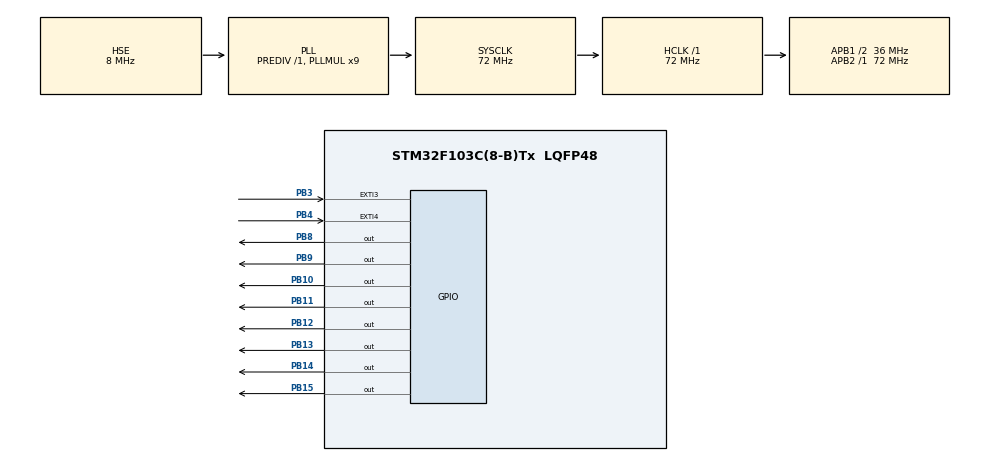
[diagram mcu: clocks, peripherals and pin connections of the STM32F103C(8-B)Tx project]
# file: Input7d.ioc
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Mcu.Family=STM32F1
Mcu.Name=STM32F103C(8-B)Tx
Mcu.Package=LQFP48
NVIC.EXTI3_IRQn=true\:1\:0\:true\:false\:true\:true\:true\:true
NVIC.EXTI4_IRQn=true\:2\:0\:true\:false\:true\:true\:true\:true
NVIC.PriorityGroup=NVIC_PRIORITYGROUP_4
PA13.Mode=Serial_Wire
PA13.Signal=SYS_JTMS-SWDIO
PA14.Mode=Serial_Wire
PA14.Signal=SYS_JTCK-SWCLK
PB10.Signal=GPIO_Output
PB11.Signal=GPIO_Output
PB12.Signal=GPIO_Output
PB13.Signal=GPIO_Output
PB14.Signal=GPIO_Output
PB15.Signal=GPIO_Output
PB3.GPIO_ModeDefaultEXTI=GPIO_MODE_IT_FALLING
PB3.GPIO_PuPd=GPIO_PULLUP
PB3.Signal=GPXTI3
PB4.GPIO_ModeDefaultEXTI=GPIO_MODE_IT_FALLING
PB4.GPIO_PuPd=GPIO_PULLUP
PB4.Signal=GPXTI4
PB8.Signal=GPIO_Output
PB9.Signal=GPIO_Output
PD0-OSC_IN.Mode=HSE-External-Oscillator
PD0-OSC_IN.Signal=RCC_OSC_IN
PD1-OSC_OUT.Mode=HSE-External-Oscillator
PD1-OSC_OUT.Signal=RCC_OSC_OUT
ProjectManager.HeapSize=0x200
ProjectManager.StackSize=0x400
ProjectManager.TargetToolchain=MDK-ARM V5.32
RCC.AHBFreq_Value=72000000
RCC.APB1CLKDivider=RCC_HCLK_DIV2
RCC.APB1Freq_Value=36000000
RCC.APB1TimFreq_Value=72000000
RCC.APB2Freq_Value=72000000
RCC.APB2TimFreq_Value=72000000
RCC.HCLKFreq_Value=72000000
RCC.PLLMUL=RCC_PLL_MUL9
RCC.PLLSourceVirtual=RCC_PLLSOURCE_HSE
RCC.SYSCLKFreq_VALUE=72000000
RCC.SYSCLKSource=RCC_SYSCLKSOURCE_PLLCLK
RCC.USBFreq_Value=72000000
board=custom

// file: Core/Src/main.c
/* USER CODE BEGIN Header */
/**
  ******************************************************************************
  * @file           : main.c
  * @brief          : Main program body
  ******************************************************************************
  * @attention
  *
  * Copyright (c) 2022 STMicroelectronics.
  * All rights reserved.
  *
  * This software is licensed under terms that can be found in the LICENSE file
  * in the root directory of this software component.
  * If no LICENSE file comes with this software, it is provided AS-IS.
  *
  ******************************************************************************
  */
/* USER CODE END Header */
#include "main.h"

/* USER CODE BEGIN PTD */
uint8_t bin[8];
int dem;
uint8_t a;
uint8_t b;
int dem_bt1 = 0 ;
int dem_bt2 = 0;
/* USER CODE END PTD */

/* USER CODE BEGIN PV */
//void HAL_GPIO_EXTI_Callback(uint16_t GPIO_Pin)

/* USER CODE END PV */

void SystemClock_Config(void);
static void MX_GPIO_Init(void);

/* USER CODE BEGIN 0 */
void chuyen_he(int dec)
{
	for(int i = 0; i < 8; i++)
	{
		bin[i] = dec%2;
		dec/=2;
	}
}

void increase_1(void)
{
	dem_bt1 = 0;
	dem_bt2 = 0;
	for(int i = 0; i < 255; i++)
	{
		if(dem_bt2 >= 1)
		{
			break;
		}
		chuyen_he(i);
		HAL_GPIO_WritePin(GPIOB, GPIO_PIN_8, bin[0]);
		HAL_GPIO_WritePin(GPIOB, GPIO_PIN_9, bin[1]);
		HAL_GPIO_WritePin(GPIOB, GPIO_PIN_10, bin[2]);
		HAL_GPIO_WritePin(GPIOB, GPIO_PIN_11, bin[3]);
		HAL_GPIO_WritePin(GPIOB, GPIO_PIN_12, bin[4]);
		HAL_GPIO_WritePin(GPIOB, GPIO_PIN_13, bin[5]);
		HAL_GPIO_WritePin(GPIOB, GPIO_PIN_14, bin[6]);
		HAL_GPIO_WritePin(GPIOB, GPIO_PIN_15, bin[7]);
		HAL_Delay(1000);
		dem = i;
	}
}

void reduce_1(void)
{
	dem_bt1 = 0;
	dem_bt2 = 0;
	for(int i = 255; i >=0; i--)
	{
		if(dem_bt1 >= 1)
		{
			break;
		}
		chuyen_he(i);
		HAL_GPIO_WritePin(GPIOB, GPIO_PIN_8, bin[0]);
		HAL_GPIO_WritePin(GPIOB, GPIO_PIN_9, bin[1]);
		HAL_GPIO_WritePin(GPIOB, GPIO_PIN_10, bin[2]);
		HAL_GPIO_WritePin(GPIOB, GPIO_PIN_11, bin[3]);
		HAL_GPIO_WritePin(GPIOB, GPIO_PIN_12, bin[4]);
		HAL_GPIO_WritePin(GPIOB, GPIO_PIN_13, bin[5]);
		HAL_GPIO_WritePin(GPIOB, GPIO_PIN_14, bin[6]);
		HAL_GPIO_WritePin(GPIOB, GPIO_PIN_15, bin[7]);
		HAL_Delay(1000);
	}
}

void led_off(void)
{
		HAL_GPIO_WritePin(GPIOB, GPIO_PIN_8, 0);
		HAL_GPIO_WritePin(GPIOB, GPIO_PIN_9, 0);
		HAL_GPIO_WritePin(GPIOB, GPIO_PIN_10, 0);
		HAL_GPIO_WritePin(GPIOB, GPIO_PIN_11, 0);
		HAL_GPIO_WritePin(GPIOB, GPIO_PIN_12, 0);
		HAL_GPIO_WritePin(GPIOB, GPIO_PIN_13, 0);
		HAL_GPIO_WritePin(GPIOB, GPIO_PIN_14, 0);
		HAL_GPIO_WritePin(GPIOB, GPIO_PIN_15, 0);
}

void HAL_GPIO_EXTI_Callback(uint16_t GPIO_Pin)
{
	if(GPIO_Pin == GPIO_PIN_3)
	{
		dem_bt1++;
	}
	if(GPIO_Pin == GPIO_PIN_4)
	{
		dem_bt2++;
	}
}

/* USER CODE END 0 */

int main(void)
{

  /* MCU Configuration--------------------------------------------------------*/

  /* Reset of all peripherals, Initializes the Flash interface and the Systick. */
  HAL_Init();

  /* Configure the system clock */
  SystemClock_Config();

  /* Initialize all configured peripherals */
  MX_GPIO_Init();

  /* Infinite loop */
  while (1)
  {

    /* USER CODE BEGIN 3 */
		led_off();
		a = HAL_GPIO_ReadPin(GPIOB, GPIO_PIN_3);
		b = HAL_GPIO_ReadPin(GPIOB, GPIO_PIN_4);
		if(dem_bt1 >= 1)
		{
			increase_1();
		}
		if(dem_bt2 >= 1)
		{
			reduce_1();
		}
  }
  /* USER CODE END 3 */
}

void SystemClock_Config(void)
{
  RCC_OscInitTypeDef RCC_OscInitStruct = {0};
  RCC_ClkInitTypeDef RCC_ClkInitStruct = {0};

  /** Initializes the RCC Oscillators according to the specified parameters
  * in the RCC_OscInitTypeDef structure.
  */
  RCC_OscInitStruct.OscillatorType = RCC_OSCILLATORTYPE_HSE;
  RCC_OscInitStruct.HSEState = RCC_HSE_ON;
  RCC_OscInitStruct.HSEPredivValue = RCC_HSE_PREDIV_DIV1;
  RCC_OscInitStruct.HSIState = RCC_HSI_ON;
  RCC_OscInitStruct.PLL.PLLState = RCC_PLL_ON;
  RCC_OscInitStruct.PLL.PLLSource = RCC_PLLSOURCE_HSE;
  RCC_OscInitStruct.PLL.PLLMUL = RCC_PLL_MUL9;
  if (HAL_RCC_OscConfig(&RCC_OscInitStruct) != HAL_OK)
  {
    Error_Handler();
  }

  /** Initializes the CPU, AHB and APB buses clocks
  */
  RCC_ClkInitStruct.ClockType = RCC_CLOCKTYPE_HCLK|RCC_CLOCKTYPE_SYSCLK
                              |RCC_CLOCKTYPE_PCLK1|RCC_CLOCKTYPE_PCLK2;
  RCC_ClkInitStruct.SYSCLKSource = RCC_SYSCLKSOURCE_PLLCLK;
  RCC_ClkInitStruct.AHBCLKDivider = RCC_SYSCLK_DIV1;
  RCC_ClkInitStruct.APB1CLKDivider = RCC_HCLK_DIV2;
  RCC_ClkInitStruct.APB2CLKDivider = RCC_HCLK_DIV1;

  if (HAL_RCC_ClockConfig(&RCC_ClkInitStruct, FLASH_LATENCY_2) != HAL_OK)
  {
    Error_Handler();
  }
}

static void MX_GPIO_Init(void)
{
  GPIO_InitTypeDef GPIO_InitStruct = {0};

  /* GPIO Ports Clock Enable */
  __HAL_RCC_GPIOD_CLK_ENABLE();
  __HAL_RCC_GPIOB_CLK_ENABLE();
  __HAL_RCC_GPIOA_CLK_ENABLE();

  /*Configure GPIO pin Output Level */
  HAL_GPIO_WritePin(GPIOB, GPIO_PIN_10|GPIO_PIN_11|GPIO_PIN_12|GPIO_PIN_13
                          |GPIO_PIN_14|GPIO_PIN_15|GPIO_PIN_8|GPIO_PIN_9, GPIO_PIN_RESET);

  /*Configure GPIO pins : PB10 PB11 PB12 PB13
                           PB14 PB15 PB8 PB9 */
  GPIO_InitStruct.Pin = GPIO_PIN_10|GPIO_PIN_11|GPIO_PIN_12|GPIO_PIN_13
                          |GPIO_PIN_14|GPIO_PIN_15|GPIO_PIN_8|GPIO_PIN_9;
  GPIO_InitStruct.Mode = GPIO_MODE_OUTPUT_PP;
  GPIO_InitStruct.Pull = GPIO_NOPULL;
  GPIO_InitStruct.Speed = GPIO_SPEED_FREQ_LOW;
  HAL_GPIO_Init(GPIOB, &GPIO_InitStruct);

  /*Configure GPIO pins : PB3 PB4 */
  GPIO_InitStruct.Pin = GPIO_PIN_3|GPIO_PIN_4;
  GPIO_InitStruct.Mode = GPIO_MODE_IT_FALLING;
  GPIO_InitStruct.Pull = GPIO_PULLUP;
  HAL_GPIO_Init(GPIOB, &GPIO_InitStruct);

  /* EXTI interrupt init*/
  HAL_NVIC_SetPriority(EXTI3_IRQn, 1, 0);
  HAL_NVIC_EnableIRQ(EXTI3_IRQn);

  HAL_NVIC_SetPriority(EXTI4_IRQn, 2, 0);
  HAL_NVIC_EnableIRQ(EXTI4_IRQn);

}

void Error_Handler(void)
{
  __disable_irq();
  while (1)
  {
  }
}
